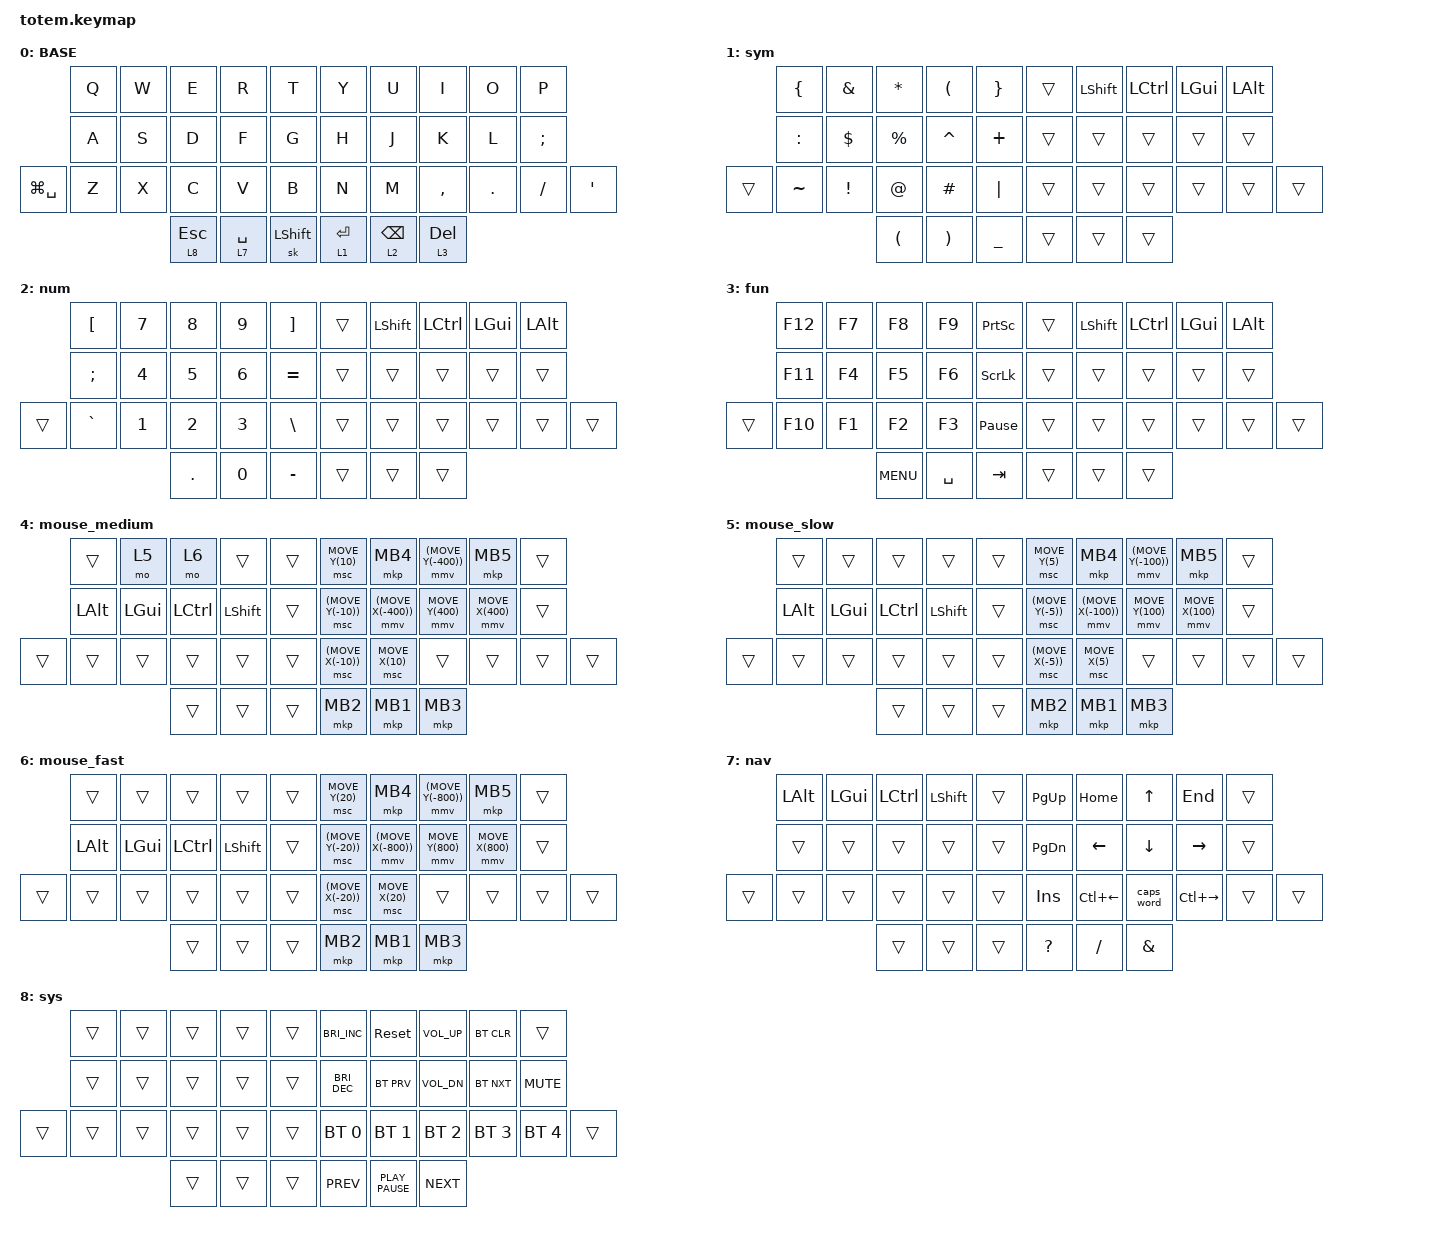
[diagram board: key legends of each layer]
//
//                                                        ▀▀▀▀▀     ▀▀▀▀▀          ▀▀█▀▀
//                                                        ▄▀▀▀▄  ▄  ▄▀▀▀▄  ▄  ▄▀▀▀▄  █  ▄▀▀▀▄
//                                                        █   █  █  █   █  █  █   █  █  █   █
//                                                         ▀▀▀   █   ▀▀▀   █   ▀▀▀   ▀   ▀▀▀
//                                                               █      ▄▄▄█▄▄▄    █   █  
//                                                               ▀      █  █  █     █▄█
//                                                             ▀▀▀▀▀    █  █  █      ▀
//                                                                      ▀  ▀  ▀
//
// ▄▄▄▄▄▄▄▄▄▄▄▄▄▄▄▄▄▄▄▄▄▄▄▄▄▄▄▄▄▄▄▄▄▄▄▄▄▄▄▄▄▄▄▄▄▄▄▄▄▄▄▄▄▄▄▄▄▄▄▄▄▄▄▄▄▄▄▄▄▄▄▄▄▄▄▄▄▄▄▄▄▄▄▄▄▄▄▄▄▄▄▄▄▄▄▄▄▄▄▄▄▄▄▄▄▄▄▄▄▄▄▄▄▄▄▄▄▄▄▄▄▄▄▄▄▄▄▄▄▄▄▄▄▄▄▄▄▄▄▄▄▄▄▄▄▄▄▄▄

#include <dt-bindings/zmk/mouse.h>
#include <behaviors.dtsi>
#include <dt-bindings/zmk/bt.h>
#include <dt-bindings/zmk/keys.h>
#include <dt-bindings/zmk/pointing.h>
#include "keys_ru.h"

#define BASE 0
#define NAV  1
#define SYM  2
#define ADJ  3
#define TVP1 4
#define TVP2 5

&mt {
    quick-tap-ms = <100>;
    global-quick-tap;
    flavor = "tap-preferred";
    tapping-term-ms = <170>;
};

&msc {
    trigger-period-ms = <50>;
    acceleration-exponent = <0>;
    time-to-max-speed-ms = <400>;
};

&mmv {
    acceleration-exponent = <0>;
    trigger-period-ms = <8>;
    time-to-max-speed-ms = <300>;
    delay-ms = <0>;
};

&caps_word { continue-list = <UNDERSCORE BACKSPACE DELETE COMMA SEMI DOT SINGLE_QUOTE DOUBLE_QUOTES LEFT_BRACKET>; };

/ {
    combos {
        compatible = "zmk,combos";
        timeout-ms = <30>;

        tab_combo {
            bindings = <&kp TAB>;
            key-positions = <11 12 13>;
        };

        left_alt {
            bindings = <&kp LEFT_ALT>;
            key-positions = <0 1>;
        };

        left_ctrl {
            bindings = <&kp LCTRL>;
            key-positions = <2 3>;
        };

        left_meta {
            bindings = <&kp LEFT_META>;
            key-positions = <2 1>;
        };

        right_alt {
            bindings = <&kp LEFT_ALT>;
            key-positions = <9 8>;
        };

        right_ctrl {
            bindings = <&kp LCTRL>;
            key-positions = <7 6>;
        };

        right_meta {
            bindings = <&kp LEFT_META>;
            key-positions = <7 8>;
        };
    };

    behaviors {
        hml: hml {
            compatible = "zmk,behavior-hold-tap";
            label = "HML";
            bindings = <&kp>, <&kp>;

            #binding-cells = <2>;
            tapping-term-ms = <200>;
            quick-tap-ms = <200>;
            flavor = "balanced";
            hold-trigger-key-positions = <5 6 8 9 15 16 17 18 19 26 27 28 29 30 31 35 36 37 7 32 33 34>;
            hold-trigger-on-release;
        };

        hmr: hmr {
            compatible = "zmk,behavior-hold-tap";
            label = "HMR";
            bindings = <&kp>, <&kp>;

            #binding-cells = <2>;
            tapping-term-ms = <200>;
            quick-tap-ms = <200>;
            flavor = "balanced";
            hold-trigger-key-positions = <0 10 11 13 14 20 21 22 23 24 25 32 33 34 1 3 4 11 12 13 14 23 24 2 35 36 37>;
            hold-trigger-on-release;
        };

        lm: lm {
            compatible = "zmk,behavior-hold-tap";
            label = "LM";
            bindings = <&mo>, <&kp>;

            #binding-cells = <2>;
            quick-tap-ms = <200>;
            tapping-term-ms = <150>;
            flavor = "hold-preferred";
            hold-trigger-key-positions = <5 6 8 9 15 16 17 18 19 26 27 28 29 30 31 35 36 37 7 24 23 22 21 25>;
            require-prior-idle-ms = <0>;
        };

        rm: rm {
            compatible = "zmk,behavior-hold-tap";
            label = "RM";
            bindings = <&mo>, <&kp>;

            #binding-cells = <2>;
            quick-tap-ms = <200>;
            tapping-term-ms = <150>;
            flavor = "hold-preferred";
            hold-trigger-key-positions = <0 1 3 4 10 11 12 13 14 20 21 22 23 24 25 32 33 34 2>;
        };
    };

    keymap {
        compatible = "zmk,keymap";

        // ▄▄▄▄▄▄▄▄▄▄▄▄▄▄▄▄▄▄▄▄▄▄▄▄▄▄▄▄▄▄▄▄▄▄▄▄▄▄▄▄▄▄▄▄▄▄▄▄▄▄▄▄▄▄▄▄▄▄▄▄▄▄▄▄▄▄▄▄▄▄▄▄▄▄▄▄▄▄▄▄▄▄▄▄▄▄▄▄▄▄▄▄▄▄▄▄▄▄▄▄▄▄▄▄▄▄▄▄▄▄▄▄▄▄▄▄▄▄▄▄▄▄▄▄▄▄▄▄▄▄▄▄▄▄▄▄▄▄▄▄▄▄▄▄▄▄▄▄▄

        base_layer {
            // ┏━━━━━━━━━━━━━━━━━━━━━━━━━━━━━━━━━━━━━━━┓

            label = "BASE";

            // ┗━━━━━━━━━━━━━━━━━━━━━━━━━━━━━━━━━━━━━━━┛
            //             ┏━━━━━━━━━━━┳━━━━━━━━━━━┳━━━━━━━━━━━┳━━━━━━━━━━━┳━━━━━━━━━━━┓   ┏━━━━━━━━━━━┳━━━━━━━━━━━┳━━━━━━━━━━━┳━━━━━━━━━━━┳━━━━━━━━━━━┓
            //             ┃     Q     ┃     W     ┃     F     ┃     P     ┃     G     ┃   ┃     J     ┃     L     ┃     U     ┃     Y     ┃     ;     ┃
            //             ┣━━━━━━━━━━━╋━━━━━━━━━━━╋━━━━━━━━━━━╋━━━━━━━━━━━╋━━━━━━━━━━━┫   ┣━━━━━━━━━━━╋━━━━━━━━━━━╋━━━━━━━━━━━╋━━━━━━━━━━━╋━━━━━━━━━━━┫
            //             ┃     A     ┃     R     ┃     S     ┃     T     ┃     D     ┃   ┃     H     ┃     N     ┃     E     ┃     I     ┃     O     ┃
            // ┏━━━━━━━━━━━╋━━━━━━━━━━━╋━━━━━━━━━━━╋━━━━━━━━━━━╋━━━━━━━━━━━╋━━━━━━━━━━━┫   ┣━━━━━━━━━━━╋━━━━━━━━━━━╋━━━━━━━━━━━╋━━━━━━━━━━━╋━━━━━━━━━━━╋━━━━━━━━━━━┓
            // ┃     Q     ┃     Z     ┃     X     ┃     C     ┃     V     ┃     B     ┃   ┃     K     ┃     M     ┃     ,     ┃     .     ┃     /     ┃     \     ┃
            // ┗━━━━━━━━━━━┻━━━━━━━━━━━┻━━━━━━━━━━━╋━━━━━━━━━━━╋━━━━━━━━━━━╋━━━━━━━━━━━┫   ┣━━━━━━━━━━━╋━━━━━━━━━━━╋━━━━━━━━━━━╋━━━━━━━━━━━┻━━━━━━━━━━━┻━━━━━━━━━━━┛
            //                                     ┃    DEL    ┃    TAB    ┃    SPC    ┃   ┃   ENTER   ┃           ┃   BSPC    ┃
            //                                     ┗━━━━━━━━━━━┻━━━━━━━━━━━┻━━━━━━━━━━━┛   ┗━━━━━━━━━━━┻━━━━━━━━━━━┻━━━━━━━━━━━┛

            bindings = <
               &kp Q  &kp W  &kp E         &kp R        &kp T             &kp Y         &kp U            &kp I         &kp O    &kp P
               &kp A  &kp S  &kp D         &kp F        &kp G             &kp H         &kp J            &kp K         &kp L    &kp SEMI
&kp LG(SPACE)  &kp Z  &kp X  &kp C         &kp V        &kp B             &kp N         &kp M            &kp COMMA     &kp DOT  &kp FSLH  &kp SQT
                             &lm 8 ESCAPE  &lm 7 SPACE  &sk LEFT_SHIFT    &rm 1 RETURN  &rm 2 BACKSPACE  &rm 3 DELETE
            >;
        };

        sym {
            bindings = <
        &kp LEFT_BRACE  &kp AMPERSAND    &kp ASTERISK  &kp LEFT_PARENTHESIS  &kp RIGHT_BRACE    &trans  &kp LSHFT  &kp LCTRL  &kp LGUI  &kp LALT
        &kp COLON       &kp DOLLAR       &kp PERCENT   &kp CARET             &kp PLUS           &trans  &trans     &trans     &trans    &trans
&trans  &kp TILDE       &kp EXCLAMATION  &kp AT_SIGN   &kp HASH              &kp PIPE           &trans  &trans     &trans     &trans    &trans    &trans
                                         &kp LPAR      &kp RPAR              &kp UNDER          &trans  &trans     &trans
            >;
        };

        num {
            bindings = <
        &kp LBKT   &kp N7  &kp N8   &kp N9  &kp RBKT     &trans  &kp LSHFT  &kp LCTRL  &kp LGUI  &kp LALT
        &kp SEMI   &kp N4  &kp N5   &kp N6  &kp EQUAL    &trans  &trans     &trans     &trans    &trans
&trans  &kp GRAVE  &kp N1  &kp N2   &kp N3  &kp BSLH     &trans  &trans     &trans     &trans    &trans    &trans
                           &kp DOT  &kp N0  &kp MINUS    &trans  &trans     &trans
            >;
        };

        fun {
            bindings = <
        &kp F12  &kp F7  &kp F8      &kp F9     &kp PRINTSCREEN    &trans  &kp LSHFT  &kp LCTRL  &kp LGUI  &kp LALT
        &kp F11  &kp F4  &kp F5      &kp F6     &kp SCROLLLOCK     &trans  &trans     &trans     &trans    &trans
&trans  &kp F10  &kp F1  &kp F2      &kp F3     &kp PAUSE_BREAK    &trans  &trans     &trans     &trans    &trans    &trans
                         &kp C_MENU  &kp SPACE  &kp TAB            &trans  &trans     &trans
            >;
        };

        mouse_medium {
            bindings = <
        &trans    &mo 5     &mo 6      &trans     &trans    &msc MOVE_Y(10)     &mkp MB4             &mmv (MOVE_Y(-400))  &mkp MB5          &trans
        &kp LALT  &kp LGUI  &kp LCTRL  &kp LSHFT  &trans    &msc (MOVE_Y(-10))  &mmv (MOVE_X(-400))  &mmv MOVE_Y(400)     &mmv MOVE_X(400)  &trans
&trans  &trans    &trans    &trans     &trans     &trans    &msc (MOVE_X(-10))  &msc MOVE_X(10)      &trans               &trans            &trans  &trans
                            &trans     &trans     &trans    &mkp MB2            &mkp MB1             &mkp MB3
            >;
        };

        mouse_slow {
            bindings = <
        &trans    &trans    &trans     &trans     &trans    &msc MOVE_Y(5)     &mkp MB4             &mmv (MOVE_Y(-100))  &mkp MB5          &trans
        &kp LALT  &kp LGUI  &kp LCTRL  &kp LSHFT  &trans    &msc (MOVE_Y(-5))  &mmv (MOVE_X(-100))  &mmv MOVE_Y(100)     &mmv MOVE_X(100)  &trans
&trans  &trans    &trans    &trans     &trans     &trans    &msc (MOVE_X(-5))  &msc MOVE_X(5)       &trans               &trans            &trans  &trans
                            &trans     &trans     &trans    &mkp MB2           &mkp MB1             &mkp MB3
            >;
        };

        mouse_fast {
            bindings = <
        &trans    &trans    &trans     &trans     &trans    &msc MOVE_Y(20)     &mkp MB4             &mmv (MOVE_Y(-800))  &mkp MB5          &trans
        &kp LALT  &kp LGUI  &kp LCTRL  &kp LSHFT  &trans    &msc (MOVE_Y(-20))  &mmv (MOVE_X(-800))  &mmv MOVE_Y(800)     &mmv MOVE_X(800)  &trans
&trans  &trans    &trans    &trans     &trans     &trans    &msc (MOVE_X(-20))  &msc MOVE_X(20)      &trans               &trans            &trans  &trans
                            &trans     &trans     &trans    &mkp MB2            &mkp MB1             &mkp MB3
            >;
        };

        nav {
            bindings = <
        &kp LALT  &kp LGUI  &kp LCTRL  &kp LSHFT  &trans    &kp PAGE_UP    &kp HOME      &kp UP         &kp END          &trans
        &trans    &trans    &trans     &trans     &trans    &kp PAGE_DOWN  &kp LEFT      &kp DOWN       &kp RIGHT_ARROW  &trans
&trans  &trans    &trans    &trans     &trans     &trans    &kp INSERT     &kp LC(LEFT)  &caps_word     &kp LC(RIGHT)    &trans  &trans
                            &trans     &trans     &trans    &kp QUESTION   &kp FSLH      &kp AMPERSAND
            >;
        };

        sys {
            bindings = <
        &trans  &trans  &trans  &trans  &trans    &kp C_BRIGHTNESS_INC  &sys_reset        &kp C_VOL_UP  &bt BT_CLR    &trans
        &trans  &trans  &trans  &trans  &trans    &kp C_BRIGHTNESS_DEC  &bt BT_PRV        &kp C_VOL_DN  &bt BT_NXT    &kp K_MUTE
&trans  &trans  &trans  &trans  &trans  &trans    &bt BT_SEL 0          &bt BT_SEL 1      &bt BT_SEL 2  &bt BT_SEL 3  &bt BT_SEL 4  &trans
                        &trans  &trans  &trans    &kp K_PREV            &kp K_PLAY_PAUSE  &kp K_NEXT
            >;
        };

        // ▄▄▄▄▄▄▄▄▄▄▄▄▄▄▄▄▄▄▄▄▄▄▄▄▄▄▄▄▄▄▄▄▄▄▄▄▄▄▄▄▄▄▄▄▄▄▄▄▄▄▄▄▄▄▄▄▄▄▄▄▄▄▄▄▄▄▄▄▄▄▄▄▄▄▄▄▄▄▄▄▄▄▄▄▄▄▄▄▄▄▄▄▄▄▄▄▄▄▄▄▄▄▄▄▄▄▄▄▄▄▄▄▄▄▄▄▄▄▄▄▄▄▄▄▄▄▄▄▄▄▄▄▄▄▄▄▄▄▄▄▄▄▄▄▄▄▄▄▄
        // ▄▄▄▄▄▄▄▄▄▄▄▄▄▄▄▄▄▄▄▄▄▄▄▄▄▄▄▄▄▄▄▄▄▄▄▄▄▄▄▄▄▄▄▄▄▄▄▄▄▄▄▄▄▄▄▄▄▄▄▄▄▄▄▄▄▄▄▄▄▄▄▄▄▄▄▄▄▄▄▄▄▄▄▄▄▄▄▄▄▄▄▄▄▄▄▄▄▄▄▄▄▄▄▄▄▄▄▄▄▄▄▄▄▄▄▄▄▄▄▄▄▄▄▄▄▄▄▄▄▄▄▄▄▄▄▄▄▄▄▄▄▄▄▄▄▄▄▄▄
    };
};
